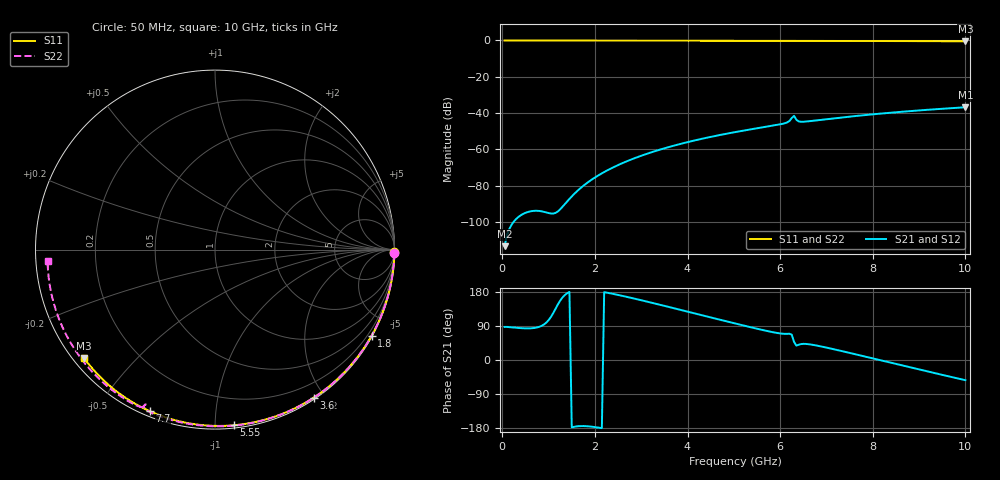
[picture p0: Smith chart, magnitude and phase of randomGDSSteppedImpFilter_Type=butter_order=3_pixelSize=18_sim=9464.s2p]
! freq	dB(S11)	phase(S11)	dB(S12)	phase(S12)
!  dB(S21)	phase(S21)	dB(S22)	phase(S22)
!S-par simulation data
#  GHz  S  DB  R 50
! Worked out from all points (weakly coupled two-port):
!   200 points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, 50 MHz to 10 GHz, reference 50 ohm
!   highest |S21| = -36.77 dB at 10 GHz (marker M1); lowest = -113.2 dB at 50 MHz (marker M2)
!   lowest |S11| = -0.5 dB at 10 GHz (marker M3), VSWR 36.75, Z = 1.54 - j18 ohm
!   |S11| at or under -10 dB: nowhere
!   |S22| runs from -0.6 to 0.0 dB; largest |S21 - S12| = 0
!   S11 on the Smith chart (normalised r, x): 50 MHz: open; 1.8 GHz: 0.03, -3.89; 3.6 GHz: 0.02, -1.87; 5.55 GHz: 0.02, -1.11; 7.7 GHz: 0.02, -0.67; 10 GHz: 0.03, -0.36
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0.05  -0.00 -0.8  -113.23 87.2  -113.23 87.2  -0.00 -1.0
0.85  -0.02 -13.7  -94.05 90.2  -94.05 90.2  -0.02 -16.8
1.75  -0.04 -28.0  -79.99 -174.3  -79.99 -174.3  -0.04 -34.3
1.8  -0.04 -28.8  -78.99 -174.5  -78.99 -174.5  -0.04 -35.2
2.1  -0.04 -33.5  -73.88 -178.8  -73.88 -178.8  -0.05 -40.9
2.5  -0.05 -39.7  -68.59 171.7  -68.59 171.7  -0.06 -48.5
2.9  -0.06 -45.8  -64.39 160.7  -64.39 160.7  -0.07 -55.9
3.4  -0.07 -53.3  -60.12 145.9  -60.12 145.9  -0.09 -65.0
3.6  -0.08 -56.3  -58.63 139.9  -58.63 139.9  -0.09 -68.6
4.3  -0.09 -66.4  -54.18 118.5  -54.18 118.5  -0.12 -80.9
5.05  -0.12 -77.0  -50.34 95.7  -50.34 95.7  -0.15 -93.7
5.55  -0.14 -83.9  -48.14 81.1  -48.14 81.1  -0.17 -102.2
6.1  -0.16 -91.3  -45.58 69.0  -45.58 69.0  -0.21 -111.5
6.2  -0.17 -92.6  -44.33 69.3  -44.33 69.3  -0.26 -113.5
6.3  -0.17 -93.9  -41.48 47.8  -41.48 47.8  -0.50 -114.1
6.35  -0.17 -94.6  -43.64 38.0  -43.64 38.0  -0.33 -114.3
6.4  -0.17 -95.2  -44.56 40.3  -44.56 40.3  -0.26 -115.3
6.7  -0.19 -99.2  -44.23 40.1  -44.23 40.1  -0.24 -120.7
7.7  -0.26 -112.0  -41.40 13.0  -41.40 13.0  -0.32 -137.1
8.35  -0.31 -120.1  -39.85 -6.0  -39.85 -6.0  -0.38 -147.7
9.2  -0.38 -130.6  -38.13 -30.7  -38.13 -30.7  -0.48 -162.0
10  -0.47 -140.4  -36.77 -53.3  -36.77 -53.3  -0.58 -176.0
